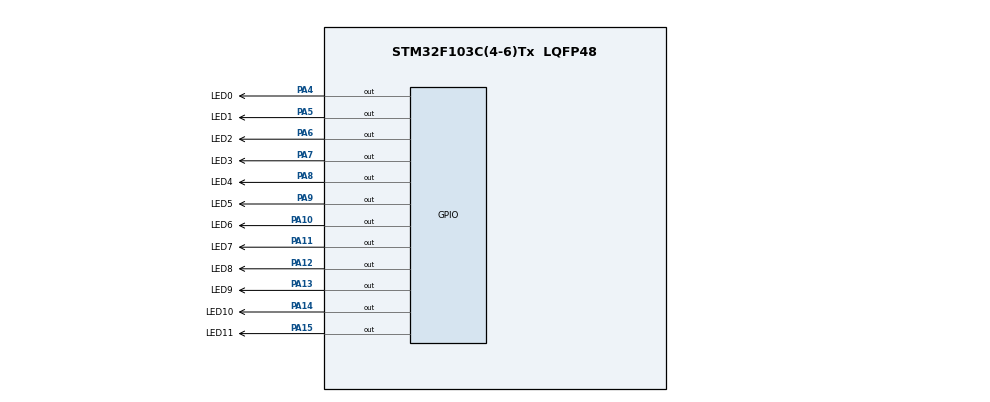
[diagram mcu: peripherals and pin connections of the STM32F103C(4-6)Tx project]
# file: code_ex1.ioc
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Mcu.Family=STM32F1
Mcu.Name=STM32F103C(4-6)Tx
Mcu.Package=LQFP48
NVIC.PriorityGroup=NVIC_PRIORITYGROUP_4
PA10.GPIO_Label=LED6
PA10.Signal=GPIO_Output
PA11.GPIO_Label=LED7
PA11.Signal=GPIO_Output
PA12.GPIO_Label=LED8
PA12.Signal=GPIO_Output
PA13.GPIO_Label=LED9
PA13.Signal=GPIO_Output
PA14.GPIO_Label=LED10
PA14.Signal=GPIO_Output
PA15.GPIO_Label=LED11
PA15.Signal=GPIO_Output
PA4.GPIO_Label=LED0
PA4.Signal=GPIO_Output
PA5.GPIO_Label=LED1
PA5.Signal=GPIO_Output
PA6.GPIO_Label=LED2
PA6.Signal=GPIO_Output
PA7.GPIO_Label=LED3
PA7.Signal=GPIO_Output
PA8.GPIO_Label=LED4
PA8.Signal=GPIO_Output
PA9.GPIO_Label=LED5
PA9.Signal=GPIO_Output
ProjectManager.HeapSize=0x200
ProjectManager.StackSize=0x400
ProjectManager.TargetToolchain=STM32CubeIDE
RCC.APB1Freq_Value=8000000
RCC.APB2Freq_Value=8000000
VP_SYS_VS_ND.Mode=No_Debug
board=custom

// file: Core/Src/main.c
/* USER CODE BEGIN Header */
/**
  ******************************************************************************
  * @file           : main.c
  * @brief          : Main program body
  ******************************************************************************
  * @attention
  *
  * <h2><center>&copy; Copyright (c) 2023 STMicroelectronics.
  * All rights reserved.</center></h2>
  *
  * This software component is licensed by ST under BSD 3-Clause license,
  * the "License"; You may not use this file except in compliance with the
  * License. You may obtain a copy of the License at:
  *                        opensource.org/licenses/BSD-3-Clause
  *
  ******************************************************************************
  */
/* USER CODE END Header */
#include "main.h"

void SystemClock_Config(void);
static void MX_GPIO_Init(void);
/* USER CODE BEGIN PFP */
void clearAllClock();
/* USER CODE END PFP */

int main(void)
{

  /* MCU Configuration--------------------------------------------------------*/

  /* Reset of all peripherals, Initializes the Flash interface and the Systick. */
  HAL_Init();

  /* Configure the system clock */
  SystemClock_Config();

  /* Initialize all configured peripherals */
  MX_GPIO_Init();
  /* USER CODE BEGIN 2 */
enum LedStateOn {LED_0=0 , LED_1=1, LED_2=2, LED_3=3, LED_4=4, LED_5=5, LED_6=6, LED_7=7, LED_8=8, LED_9=9, LED_10=10, LED_11=11};
enum LedStateOn ledOn = LED_0;
  /* USER CODE END 2 */

  /* Infinite loop */
  /* USER CODE BEGIN WHILE */
  while (1)
  {
	  switch(ledOn){
		  case LED_0:
			  GPIOA->ODR = 1 << 4;

			  ledOn = LED_1;
		  	  break;

		  case LED_1:
			  GPIOA->ODR = 1 << 5;

			  ledOn = LED_2;
		  	  break;

		  case LED_2:
			  GPIOA->ODR = 1 << 6;

			  ledOn = LED_3;
		  	  break;
		  case LED_3:
			  GPIOA->ODR = 1 << 7;

			  ledOn = LED_4;
		  	  break;

		  case LED_4:
			  GPIOA->ODR = 1 << 8;

			  ledOn = LED_5;
		  	  break;
		  case LED_5:
			  GPIOA->ODR = 1 << 9;

			  ledOn = LED_6;
		  	  break;

		  case LED_6:
			  GPIOA->ODR = 1 << 10;

			  ledOn = LED_7;
		  	  break;
		  case LED_7:
			  GPIOA->ODR = 1 << 11;

			  ledOn = LED_8;
		  	  break;
		  case LED_8:
			  GPIOA->ODR = 1 << 12;

			  ledOn = LED_9;
		  	  break;
		  case LED_9:
			  GPIOA->ODR = 1 << 13;

			  ledOn = LED_10;
		  	  break;
		  case LED_10:
			  GPIOA->ODR = 1 << 14;

			  ledOn = LED_11;
		  	  break;
		  case LED_11:
			  GPIOA->ODR = 1 << 15;

			  ledOn = LED_0;
		  	  break;
	  }
	  clearAllClock();
	  HAL_Delay(1000);
    /* USER CODE END WHILE */

  }
}

void SystemClock_Config(void)
{
  RCC_OscInitTypeDef RCC_OscInitStruct = {0};
  RCC_ClkInitTypeDef RCC_ClkInitStruct = {0};

  /** Initializes the RCC Oscillators according to the specified parameters
  * in the RCC_OscInitTypeDef structure.
  */
  RCC_OscInitStruct.OscillatorType = RCC_OSCILLATORTYPE_HSI;
  RCC_OscInitStruct.HSIState = RCC_HSI_ON;
  RCC_OscInitStruct.HSICalibrationValue = RCC_HSICALIBRATION_DEFAULT;
  RCC_OscInitStruct.PLL.PLLState = RCC_PLL_NONE;
  if (HAL_RCC_OscConfig(&RCC_OscInitStruct) != HAL_OK)
  {
    Error_Handler();
  }
  /** Initializes the CPU, AHB and APB buses clocks
  */
  RCC_ClkInitStruct.ClockType = RCC_CLOCKTYPE_HCLK|RCC_CLOCKTYPE_SYSCLK
                              |RCC_CLOCKTYPE_PCLK1|RCC_CLOCKTYPE_PCLK2;
  RCC_ClkInitStruct.SYSCLKSource = RCC_SYSCLKSOURCE_HSI;
  RCC_ClkInitStruct.AHBCLKDivider = RCC_SYSCLK_DIV1;
  RCC_ClkInitStruct.APB1CLKDivider = RCC_HCLK_DIV1;
  RCC_ClkInitStruct.APB2CLKDivider = RCC_HCLK_DIV1;

  if (HAL_RCC_ClockConfig(&RCC_ClkInitStruct, FLASH_LATENCY_0) != HAL_OK)
  {
    Error_Handler();
  }
}

static void MX_GPIO_Init(void)
{
  GPIO_InitTypeDef GPIO_InitStruct = {0};

  /* GPIO Ports Clock Enable */
  __HAL_RCC_GPIOA_CLK_ENABLE();

  /*Configure GPIO pin Output Level */
  HAL_GPIO_WritePin(GPIOA, LED0_Pin|LED1_Pin|LED2_Pin|LED3_Pin
                          |LED4_Pin|LED5_Pin|LED6_Pin|LED7_Pin
                          |LED8_Pin|LED9_Pin|LED10_Pin|LED11_Pin, GPIO_PIN_RESET);

  /*Configure GPIO pins : LED0_Pin LED1_Pin LED2_Pin LED3_Pin
                           LED4_Pin LED5_Pin LED6_Pin LED7_Pin
                           LED8_Pin LED9_Pin LED10_Pin LED11_Pin */
  GPIO_InitStruct.Pin = LED0_Pin|LED1_Pin|LED2_Pin|LED3_Pin
                          |LED4_Pin|LED5_Pin|LED6_Pin|LED7_Pin
                          |LED8_Pin|LED9_Pin|LED10_Pin|LED11_Pin;
  GPIO_InitStruct.Mode = GPIO_MODE_OUTPUT_PP;
  GPIO_InitStruct.Pull = GPIO_NOPULL;
  GPIO_InitStruct.Speed = GPIO_SPEED_FREQ_LOW;
  HAL_GPIO_Init(GPIOA, &GPIO_InitStruct);

}

/* USER CODE BEGIN 4 */
void clearAllClock(){
	GPIOA->ODR = 0x00;
}

/* USER CODE END 4 */

void Error_Handler(void)
{
  __disable_irq();
  while (1)
  {
  }
}

/************************ (C) COPYRIGHT STMicroelectronics *****END OF FILE****/
